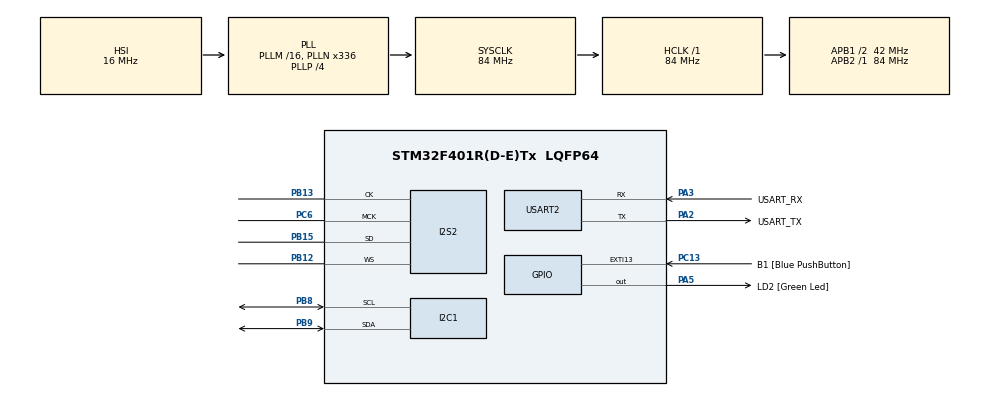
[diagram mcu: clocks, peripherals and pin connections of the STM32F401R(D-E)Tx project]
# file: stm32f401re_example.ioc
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Dma.Request0=SPI2_TX
Dma.SPI2_TX.0.Direction=DMA_MEMORY_TO_PERIPH
Dma.SPI2_TX.0.FIFOMode=DMA_FIFOMODE_DISABLE
Dma.SPI2_TX.0.Instance=DMA1_Stream4
Dma.SPI2_TX.0.MemDataAlignment=DMA_MDATAALIGN_HALFWORD
Dma.SPI2_TX.0.MemInc=DMA_MINC_ENABLE
Dma.SPI2_TX.0.Mode=DMA_CIRCULAR
Dma.SPI2_TX.0.PeriphDataAlignment=DMA_PDATAALIGN_HALFWORD
Dma.SPI2_TX.0.PeriphInc=DMA_PINC_DISABLE
Dma.SPI2_TX.0.Priority=DMA_PRIORITY_LOW
I2S2.AudioFreq=I2S_AUDIOFREQ_48K
I2S2.DataFormat=I2S_DATAFORMAT_24B
I2S2.ErrorAudioFreq=-0.01 %
I2S2.FullDuplexMode=I2S_FULLDUPLEXMODE_DISABLE
I2S2.Instance=SPI$Index
I2S2.RealAudioFreq=47.991 KHz
I2S2.VirtualMode=I2S_MODE_MASTER
Mcu.Family=STM32F4
Mcu.Name=STM32F401R(D-E)Tx
Mcu.Package=LQFP64
NVIC.DMA1_Stream4_IRQn=true\:0\:0\:false\:false\:true\:false\:true\:true
NVIC.PriorityGroup=NVIC_PRIORITYGROUP_0
PA13.GPIO_Label=TMS
PA13.Mode=Serial_Wire
PA13.Signal=SYS_JTMS-SWDIO
PA14.GPIO_Label=TCK
PA14.Mode=Serial_Wire
PA14.Signal=SYS_JTCK-SWCLK
PA2.GPIO_Label=USART_TX
PA2.GPIO_Mode=GPIO_MODE_AF_PP
PA2.GPIO_PuPd=GPIO_NOPULL
PA2.GPIO_Speed=GPIO_SPEED_FREQ_LOW
PA2.Mode=Asynchronous
PA2.Signal=USART2_TX
PA3.GPIO_Label=USART_RX
PA3.GPIO_Mode=GPIO_MODE_AF_PP
PA3.GPIO_PuPd=GPIO_NOPULL
PA3.GPIO_Speed=GPIO_SPEED_FREQ_LOW
PA3.Mode=Asynchronous
PA3.Signal=USART2_RX
PA5.GPIO_Label=LD2 [Green Led]
PA5.GPIO_Mode=GPIO_MODE_OUTPUT_PP
PA5.GPIO_PuPd=GPIO_NOPULL
PA5.GPIO_Speed=GPIO_SPEED_FREQ_LOW
PA5.Signal=GPIO_Output
PB12.Mode=Half_Duplex_Master
PB12.Signal=I2S2_WS
PB13.Mode=Half_Duplex_Master
PB13.Signal=I2S2_CK
PB15.Mode=Half_Duplex_Master
PB15.Signal=I2S2_SD
PB3.GPIO_Label=SWO
PB3.Signal=SYS_JTDO-SWO
PB8.GPIO_Pu=GPIO_PULLUP
PB8.Mode=I2C
PB8.Signal=I2C1_SCL
PB9.GPIO_Pu=GPIO_PULLUP
PB9.Mode=I2C
PB9.Signal=I2C1_SDA
PC13-ANTI_TAMP.GPIO_Label=B1 [Blue PushButton]
PC13-ANTI_TAMP.GPIO_ModeDefaultEXTI=GPIO_MODE_IT_FALLING
PC13-ANTI_TAMP.GPIO_PuPd=GPIO_NOPULL
PC13-ANTI_TAMP.Signal=GPXTI13
PC14-OSC32_IN.Mode=LSE-External-Oscillator
PC14-OSC32_IN.Signal=RCC_OSC32_IN
PC15-OSC32_OUT.Mode=LSE-External-Oscillator
PC15-OSC32_OUT.Signal=RCC_OSC32_OUT
PC6.Mode=Master_Clock_Activated
PC6.Signal=I2S2_MCK
PH0\ -\ OSC_IN.Mode=HSE-External-Clock-Source
PH0\ -\ OSC_IN.Signal=RCC_OSC_IN
PH1\ -\ OSC_OUT.Mode=HSE-External-Clock-Source
PH1\ -\ OSC_OUT.Signal=RCC_OSC_OUT
ProjectManager.HeapSize=0x200
ProjectManager.StackSize=0x400
ProjectManager.TargetToolchain=STM32CubeIDE
RCC.48MHZClocksFreq_Value=48000000
RCC.AHBFreq_Value=84000000
RCC.APB1CLKDivider=RCC_HCLK_DIV2
RCC.APB1Freq_Value=42000000
RCC.APB1TimFreq_Value=84000000
RCC.APB2Freq_Value=84000000
RCC.APB2TimFreq_Value=84000000
RCC.CortexFreq_Value=84000000
RCC.HCLKFreq_Value=84000000
RCC.HSE_VALUE=8000000
RCC.HSI_VALUE=16000000
RCC.PLLI2SN=258
RCC.PLLI2SR=3
RCC.PLLN=336
RCC.PLLP=RCC_PLLP_DIV4
RCC.PLLQ=7
RCC.SYSCLKFreq_VALUE=84000000
RCC.SYSCLKSource=RCC_SYSCLKSOURCE_PLLCLK
RCC.VCOOutputFreq_Value=336000000
USART2.VirtualMode=VM_ASYNC
board=NUCLEO-F401RE

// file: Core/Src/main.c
/* USER CODE BEGIN Header */
/**
  ******************************************************************************
  * @file           : main.c
  * @brief          : Main program body
  ******************************************************************************
  * @attention
  *
  * Copyright (c) 2024 STMicroelectronics.
  * All rights reserved.
  *
  * This software is licensed under terms that can be found in the LICENSE file
  * in the root directory of this software component.
  * If no LICENSE file comes with this software, it is provided AS-IS.
  *
  ******************************************************************************
  */
/* USER CODE END Header */
#include "main.h"

/* USER CODE BEGIN Includes */

#include <stdio.h>
#include <string.h>

#include "sta350bw_driver.h"
#include "testData.h"

/* USER CODE END Includes */

/* USER CODE BEGIN PD */

#define STA350BW_DEV_ADDR               STA350BW_DEV_ADDR_1
#define STA350BW_HI2C_INSTANCE          &hi2c1
#define STA350BW_I2C_TIMEOUT            ((uint32_t)0xff)

#define AUDIO_BUFFER_SIZE               (8U)

/* USER CODE END PD */

I2C_HandleTypeDef hi2c1;

I2S_HandleTypeDef hi2s2;
DMA_HandleTypeDef hdma_spi2_tx;

UART_HandleTypeDef huart2;

/* USER CODE BEGIN PV */

//uint32_t audioData[AUDIO_BUFFER_SIZE] = {0,1,2,3,4,5,6,7};
uint16_t audioBuffer[AUDIO_BUFFER_SIZE<<1] = {0};
uint32_t audioIdx = 0;
uint32_t cbCnt = 0;
char msg[50] = {0};

sta350bw_status_t sta350bw_write(
  uint8_t devAddr,
  uint8_t *pData,
  size_t nBytes);

sta350bw_status_t sta350bw_read(
  uint8_t devAddr,
  uint8_t *pData,
  size_t nBytes);

sta350bw_handle_t sta350bwH =
{
     .deviceAddr            = STA350BW_DEV_ADDR,
     .masterVolume          = -24.0f,
     .i2sCfg.sampleRate     = STA350BW_I2S_FS_48000,
     .i2sCfg.dataFirstBit   = STA350BW_I2S_MSB_FIRST,
     .i2sCfg.delayBitEn     = STA350BW_I2S_DELAY_BIT_ENABLE,
     .i2sCfg.bitsPerFrame   = STA350BW_I2S_64_BITS_PER_FRAME,
     .i2sCfg.format         = STA350BW_I2S_FMT_I2S,
     .i2sCfg.mclkSampRate   = STA350BW_I2S_MCLK_FS_X_256,
     .i2sCfg.dataBits       = STA350BW_I2S_DATA_BITS_24,
     .write                 = sta350bw_write,
     .read                  = sta350bw_read,
};

/* USER CODE END PV */

void SystemClock_Config(void);
static void MX_GPIO_Init(void);
static void MX_DMA_Init(void);
static void MX_USART2_UART_Init(void);
static void MX_I2S2_Init(void);
static void MX_I2C1_Init(void);

/* USER CODE BEGIN 0 */

/* i2c write that is used by the handle of the stm350bw */
sta350bw_status_t sta350bw_write(
  uint8_t devAddr,
  uint8_t *pData,
  size_t nBytes)
{
    if (HAL_I2C_Master_Transmit(STA350BW_HI2C_INSTANCE, devAddr, pData, nBytes, STA350BW_I2C_TIMEOUT) != HAL_OK)
    {
        return STA350BW_STATUS_I2C_ERROR;
    }

    return STA350BW_STATUS_OK;
}

/* i2c read that is used by the handle of the stm350bw */
sta350bw_status_t sta350bw_read(
  uint8_t devAddr,
  uint8_t *pData,
  size_t nBytes)
{
    // read from subaddress
    if (HAL_I2C_Master_Receive(STA350BW_HI2C_INSTANCE, devAddr, pData, nBytes, STA350BW_I2C_TIMEOUT) != HAL_OK)
    {
        return STA350BW_STATUS_I2C_ERROR;
    }

    return STA350BW_STATUS_OK;
}

/* starts the sysTick counter, returning current value of the counter */
uint32_t startTimer(void)
{
    uint32_t val;

    // get current value
    val = SysTick->VAL;

    // reset ms count
    uwTick = 0;

    return val;
}

/* stops the the sysTick counter and calculates the difference between the start and end time */
uint32_t endTimer(uint32_t startVal)
{
    // calculate difference
    int32_t diff = startVal - SysTick->VAL;

    // offset if the count has wrapped around
    if (diff < 0)
    {
        diff += SysTick->LOAD;
    }

    // return the total number of samples
    return (uint32_t)diff + uwTick * SysTick->LOAD;
}

/* i2s tx full callback interrupt handler */
void HAL_I2S_TxCpltCallback(I2S_HandleTypeDef *hi2s)
{
    uint32_t i;
    uint32_t cnt = 0;

    // set up pointers to the buffer and data
	uint16_t *pAudioBuffer = audioBuffer;
	uint32_t *pAudioData = (uint32_t*)(testData + audioIdx);

    // start timer
    cnt = startTimer();

	// copy over new data to buffer
	for (i = 0; i < AUDIO_BUFFER_SIZE; i++)
	{
		*pAudioBuffer = *pAudioData >> 8;
		pAudioBuffer++;

		*pAudioBuffer = *pAudioData << 8;
		pAudioBuffer++;

		pAudioData++;
	}

    // iterate the audio index
    audioIdx += AUDIO_BUFFER_SIZE;
    audioIdx %= N_SAMPLES;

    // end timer
    cnt = endTimer(cnt);
    cbCnt++;

    // print output
    if (cbCnt >= 10000)
    {
        // number of cycles per callback
        // sysClock / sampleRate * callbackLen  -->  84000000 / 48000 * 32 = 56000
        sprintf(msg, "Clk Count: %lu;\t Percentage: %.2f\n\r", cnt, (float)cnt/560.0f);
        HAL_UART_Transmit(&huart2, (uint8_t*)msg, 50, 0xFFFF);

        cbCnt = 0;
    }
}

/* USER CODE END 0 */

int main(void)
{

  /* MCU Configuration--------------------------------------------------------*/

  /* Reset of all peripherals, Initializes the Flash interface and the Systick. */
  HAL_Init();

  /* Configure the system clock */
  SystemClock_Config();

  /* Initialize all configured peripherals */
  MX_GPIO_Init();
  MX_DMA_Init();
  MX_USART2_UART_Init();
  MX_I2S2_Init();
  MX_I2C1_Init();
  /* USER CODE BEGIN 2 */

  // set up I2S DMA transmission
  HAL_I2S_Transmit_DMA(&hi2s2, (uint16_t*)audioBuffer, AUDIO_BUFFER_SIZE);

  HAL_Delay(1000);

  // initialise amp
  if (sta350bw_init(&sta350bwH) != 0)
  {
	  return -1;
  }

  /* USER CODE END 2 */

  /* Infinite loop */
  while (1)
  {

  }
}

void SystemClock_Config(void)
{
  RCC_OscInitTypeDef RCC_OscInitStruct = {0};
  RCC_ClkInitTypeDef RCC_ClkInitStruct = {0};

  /** Configure the main internal regulator output voltage
  */
  __HAL_RCC_PWR_CLK_ENABLE();
  __HAL_PWR_VOLTAGESCALING_CONFIG(PWR_REGULATOR_VOLTAGE_SCALE2);

  /** Initializes the RCC Oscillators according to the specified parameters
  * in the RCC_OscInitTypeDef structure.
  */
  RCC_OscInitStruct.OscillatorType = RCC_OSCILLATORTYPE_HSI;
  RCC_OscInitStruct.HSIState = RCC_HSI_ON;
  RCC_OscInitStruct.HSICalibrationValue = RCC_HSICALIBRATION_DEFAULT;
  RCC_OscInitStruct.PLL.PLLState = RCC_PLL_ON;
  RCC_OscInitStruct.PLL.PLLSource = RCC_PLLSOURCE_HSI;
  RCC_OscInitStruct.PLL.PLLM = 16;
  RCC_OscInitStruct.PLL.PLLN = 336;
  RCC_OscInitStruct.PLL.PLLP = RCC_PLLP_DIV4;
  RCC_OscInitStruct.PLL.PLLQ = 7;
  if (HAL_RCC_OscConfig(&RCC_OscInitStruct) != HAL_OK)
  {
    Error_Handler();
  }

  /** Initializes the CPU, AHB and APB buses clocks
  */
  RCC_ClkInitStruct.ClockType = RCC_CLOCKTYPE_HCLK|RCC_CLOCKTYPE_SYSCLK
                              |RCC_CLOCKTYPE_PCLK1|RCC_CLOCKTYPE_PCLK2;
  RCC_ClkInitStruct.SYSCLKSource = RCC_SYSCLKSOURCE_PLLCLK;
  RCC_ClkInitStruct.AHBCLKDivider = RCC_SYSCLK_DIV1;
  RCC_ClkInitStruct.APB1CLKDivider = RCC_HCLK_DIV2;
  RCC_ClkInitStruct.APB2CLKDivider = RCC_HCLK_DIV1;

  if (HAL_RCC_ClockConfig(&RCC_ClkInitStruct, FLASH_LATENCY_2) != HAL_OK)
  {
    Error_Handler();
  }
}

static void MX_I2C1_Init(void)
{

  hi2c1.Instance = I2C1;
  hi2c1.Init.ClockSpeed = 100000;
  hi2c1.Init.DutyCycle = I2C_DUTYCYCLE_2;
  hi2c1.Init.OwnAddress1 = 0;
  hi2c1.Init.AddressingMode = I2C_ADDRESSINGMODE_7BIT;
  hi2c1.Init.DualAddressMode = I2C_DUALADDRESS_DISABLE;
  hi2c1.Init.OwnAddress2 = 0;
  hi2c1.Init.GeneralCallMode = I2C_GENERALCALL_DISABLE;
  hi2c1.Init.NoStretchMode = I2C_NOSTRETCH_DISABLE;
  if (HAL_I2C_Init(&hi2c1) != HAL_OK)
  {
    Error_Handler();
  }

}

static void MX_I2S2_Init(void)
{

  hi2s2.Instance = SPI2;
  hi2s2.Init.Mode = I2S_MODE_MASTER_TX;
  hi2s2.Init.Standard = I2S_STANDARD_PHILIPS;
  hi2s2.Init.DataFormat = I2S_DATAFORMAT_24B;
  hi2s2.Init.MCLKOutput = I2S_MCLKOUTPUT_ENABLE;
  hi2s2.Init.AudioFreq = I2S_AUDIOFREQ_48K;
  hi2s2.Init.CPOL = I2S_CPOL_LOW;
  hi2s2.Init.ClockSource = I2S_CLOCK_PLL;
  hi2s2.Init.FullDuplexMode = I2S_FULLDUPLEXMODE_DISABLE;
  if (HAL_I2S_Init(&hi2s2) != HAL_OK)
  {
    Error_Handler();
  }

}

static void MX_USART2_UART_Init(void)
{

  huart2.Instance = USART2;
  huart2.Init.BaudRate = 115200;
  huart2.Init.WordLength = UART_WORDLENGTH_8B;
  huart2.Init.StopBits = UART_STOPBITS_1;
  huart2.Init.Parity = UART_PARITY_NONE;
  huart2.Init.Mode = UART_MODE_TX_RX;
  huart2.Init.HwFlowCtl = UART_HWCONTROL_NONE;
  huart2.Init.OverSampling = UART_OVERSAMPLING_16;
  if (HAL_UART_Init(&huart2) != HAL_OK)
  {
    Error_Handler();
  }

}

static void MX_DMA_Init(void)
{

  /* DMA controller clock enable */
  __HAL_RCC_DMA1_CLK_ENABLE();

  /* DMA interrupt init */
  /* DMA1_Stream4_IRQn interrupt configuration */
  HAL_NVIC_SetPriority(DMA1_Stream4_IRQn, 0, 0);
  HAL_NVIC_EnableIRQ(DMA1_Stream4_IRQn);

}

static void MX_GPIO_Init(void)
{
  GPIO_InitTypeDef GPIO_InitStruct = {0};

  /* GPIO Ports Clock Enable */
  __HAL_RCC_GPIOC_CLK_ENABLE();
  __HAL_RCC_GPIOH_CLK_ENABLE();
  __HAL_RCC_GPIOA_CLK_ENABLE();
  __HAL_RCC_GPIOB_CLK_ENABLE();

  /*Configure GPIO pin Output Level */
  HAL_GPIO_WritePin(LD2_GPIO_Port, LD2_Pin, GPIO_PIN_RESET);

  /*Configure GPIO pin : B1_Pin */
  GPIO_InitStruct.Pin = B1_Pin;
  GPIO_InitStruct.Mode = GPIO_MODE_IT_FALLING;
  GPIO_InitStruct.Pull = GPIO_NOPULL;
  HAL_GPIO_Init(B1_GPIO_Port, &GPIO_InitStruct);

  /*Configure GPIO pin : LD2_Pin */
  GPIO_InitStruct.Pin = LD2_Pin;
  GPIO_InitStruct.Mode = GPIO_MODE_OUTPUT_PP;
  GPIO_InitStruct.Pull = GPIO_NOPULL;
  GPIO_InitStruct.Speed = GPIO_SPEED_FREQ_LOW;
  HAL_GPIO_Init(LD2_GPIO_Port, &GPIO_InitStruct);

}

void Error_Handler(void)
{
  __disable_irq();
  while (1)
  {
  }
}
